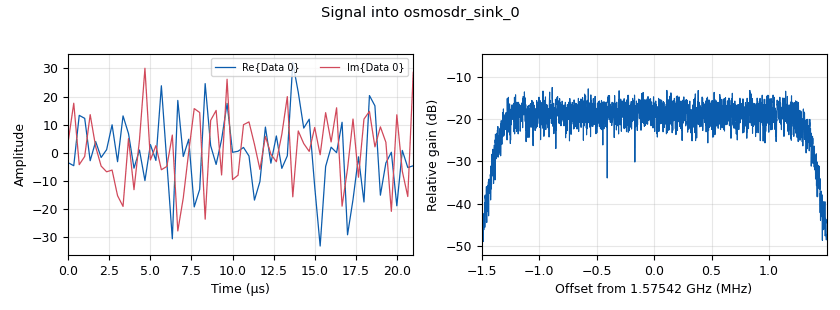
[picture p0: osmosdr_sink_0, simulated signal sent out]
<?xml version='1.0' encoding='utf-8'?>
<?grc format='1' created='3.7.11'?>
<flow_graph>
<block>
<key>options</key>
<param><key>id</key><value>top_block</value></param>
<param><key>generate_options</key><value>no_gui</value></param>
</block>
<block>
<key>analog_noise_source_x</key>
<param><key>id</key><value>analog_noise_source_x_0</value></param>
<param><key>amp</key><value>1</value></param>
<param><key>noise_type</key><value>analog.GR_GAUSSIAN</value></param>
<param><key>type</key><value>complex</value></param>
<param><key>seed</key><value>0</value></param>
</block>
<block>
<key>blocks_multiply_const_vxx</key>
<param><key>id</key><value>blocks_multiply_const_vxx_0</value></param>
<param><key>const</key><value>20</value></param>
<param><key>type</key><value>complex</value></param>
</block>
<block>
<key>osmosdr_sink</key>
<param><key>id</key><value>osmosdr_sink_0</value></param>
<param><key>bb_gain0</key><value>20</value></param>
<param><key>corr0</key><value>3</value></param>
<param><key>freq0</key><value>1575420000</value></param>
<param><key>if_gain0</key><value>20</value></param>
<param><key>gain0</key><value>10</value></param>
<param><key>args</key><value></value></param>
<param><key>type</key><value>fc32</value></param>
<param><key>sample_rate</key><value>3000000</value></param>
<param><key>sync</key><value></value></param>
</block>
<block>
<key>rational_resampler_xxx</key>
<param><key>id</key><value>rational_resampler_xxx_0</value></param>
<param><key>decim</key><value>3000000</value></param>
<param><key>interp</key><value>3000000</value></param>
<param><key>taps</key><value></value></param>
<param><key>type</key><value>ccc</value></param>
</block>
<connection><source_block_id>analog_noise_source_x_0</source_block_id><sink_block_id>rational_resampler_xxx_0</sink_block_id><source_key>0</source_key><sink_key>0</sink_key></connection>
<connection><source_block_id>blocks_multiply_const_vxx_0</source_block_id><sink_block_id>osmosdr_sink_0</sink_block_id><source_key>0</source_key><sink_key>0</sink_key></connection>
<connection><source_block_id>rational_resampler_xxx_0</source_block_id><sink_block_id>blocks_multiply_const_vxx_0</sink_block_id><source_key>0</source_key><sink_key>0</sink_key></connection>
</flow_graph>
